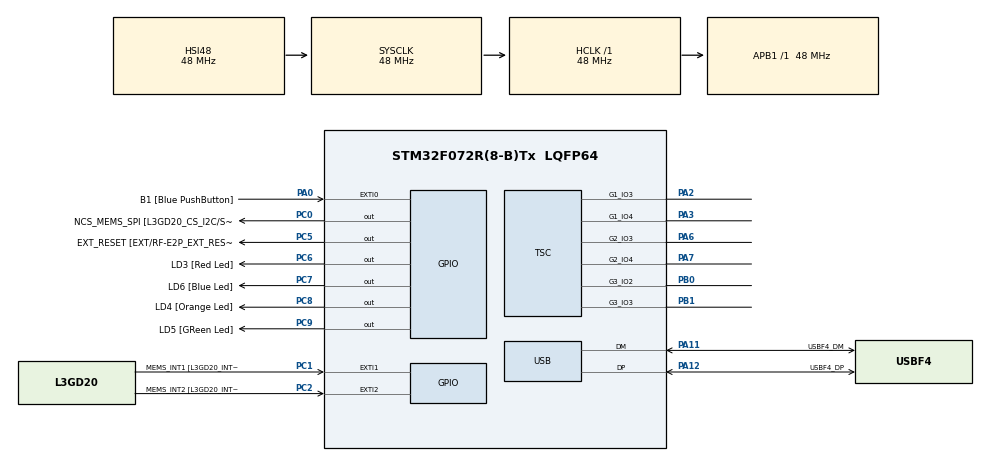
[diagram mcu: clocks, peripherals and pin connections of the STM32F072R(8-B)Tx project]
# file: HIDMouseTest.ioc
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Mcu.Family=STM32F0
Mcu.Name=STM32F072R(8-B)Tx
Mcu.Package=LQFP64
NVIC.USB_IRQn=true\:0\:0\:false\:false\:true\:false\:true\:true
PA0.GPIO_Label=B1 [Blue PushButton]
PA0.GPIO_ModeDefaultEXTI=GPIO_MODE_EVT_RISING
PA0.Signal=GPXTI0
PA11.GPIO_Label=USBF4_DM
PA11.Mode=Device
PA11.Signal=USB_DM
PA12.GPIO_Label=USBF4_DP
PA12.Mode=Device
PA12.Signal=USB_DP
PA13.GPIO_Label=SWDIO
PA13.Mode=Serial_Wire
PA13.Signal=SYS_SWDIO
PA14.GPIO_Label=SWCLK
PA14.Mode=Serial_Wire
PA14.Signal=SYS_SWCLK
PA2.Mode=G1_IO3-Channel
PA2.Signal=TSC_G1_IO3
PA3.Mode=G1_IO4-Sampling
PA3.Signal=TSC_G1_IO4
PA6.Mode=G2_IO3-Channel
PA6.Signal=TSC_G2_IO3
PA7.Mode=G2_IO4-Sampling
PA7.Signal=TSC_G2_IO4
PB0.Mode=G3_IO2-Channel
PB0.Signal=TSC_G3_IO2
PB1.Mode=G3_IO3-Sampling
PB1.Signal=TSC_G3_IO3
PB10.GPIO_Label=I2C2_SCL[EXT/RF-E2P_SCL]
PB10.Signal=I2C2_SCL
PB11.GPIO_Label=I2C2_SDA[EXT/RF-E2P_SDA]
PB11.Signal=I2C2_SDA
PB13.GPIO_Label=SPI2_SCK [L3GD20_SCL/SPC]
PB13.Signal=SPI2_SCK
PB14.GPIO_Label=SPI2_MISO [L3GD20_SDO]
PB14.Signal=SPI2_MISO
PB15.GPIO_Label=SPI2_MOSI [L3GD20_SDA/SDI]
PB15.Signal=SPI2_MOSI
PC0.GPIO_Label=NCS_MEMS_SPI [L3GD20_CS_I2C/SPI]
PC0.Signal=GPIO_Output
PC1.GPIO_Label=MEMS_INT1 [L3GD20_INT1]
PC1.GPIO_ModeDefaultEXTI=GPIO_MODE_EVT_RISING
PC1.Signal=GPXTI1
PC2.GPIO_Label=MEMS_INT2 [L3GD20_INT2]
PC2.GPIO_ModeDefaultEXTI=GPIO_MODE_EVT_RISING
PC2.Signal=GPXTI2
PC5.GPIO_Label=EXT_RESET [EXT/RF-E2P_EXT_RESET]
PC5.Signal=GPIO_Output
PC6.GPIO_Label=LD3 [Red Led]
PC6.Signal=GPIO_Output
PC7.GPIO_Label=LD6 [Blue Led]
PC7.Signal=GPIO_Output
PC8.GPIO_Label=LD4 [Orange Led]
PC8.Signal=GPIO_Output
PC9.GPIO_Label=LD5 [GReen Led]
PC9.Signal=GPIO_Output
ProjectManager.HeapSize=0x200
ProjectManager.StackSize=0x400
ProjectManager.TargetToolchain=MDK-ARM V5.32
RCC.AHBFreq_Value=48000000
RCC.APB1Freq_Value=48000000
RCC.APB1TimFreq_Value=48000000
RCC.HCLKFreq_Value=48000000
RCC.SYSCLKFreq_VALUE=48000000
RCC.SYSCLKSource=RCC_SYSCLKSOURCE_HSI48
RCC.USBFreq_Value=48000000
TOUCHSENSING.IO_3CH_LIN_H_NBR1_CH1=G1_IO3
TOUCHSENSING.IO_3CH_LIN_H_NBR1_CH2=G2_IO3
TOUCHSENSING.IO_3CH_LIN_H_NBR1_CH3=G3_IO2
TOUCHSENSING.TSLPRM_LINROT_CALIB_TH=40
TOUCHSENSING.TSLPRM_LINROT_DETECT_IN_TH=40
TOUCHSENSING.TSLPRM_LINROT_DETECT_OUT_TH=35
TOUCHSENSING.TSLPRM_LINROT_RESOLUTION=7
TOUCHSENSING.TSLPRM_SENSORS_DATAS=TSLPRM_USE_3CH_LIN_H_NBR1 1 3 
TOUCHSENSING.TSLPRM_USE_3CH_LIN_H=1
TOUCHSENSING.TSLPRM_USE_3CH_LIN_H_NBR=1
TSC.ChannelIOs-G1_IO3=TSC_GROUP1_IO3
TSC.ChannelIOs-G2_IO3=TSC_GROUP2_IO3
TSC.ChannelIOs-G3_IO2=TSC_GROUP3_IO2
TSC.SamplingIOs-G1_IO4=TSC_GROUP1_IO4
TSC.SamplingIOs-G2_IO4=TSC_GROUP2_IO4
TSC.SamplingIOs-G3_IO3=TSC_GROUP3_IO3
USB_DEVICE.CLASS_NAME_FS=HID
USB_DEVICE.PRODUCT_STRING_HID_FS=Anapad
USB_DEVICE.VirtualMode=Hid
USB_DEVICE.VirtualModeFS=Hid_FS
VP_TOUCHSENSING_VS_TOUCHSENSING.Mode=TouchSensing_Enabled
VP_USB_DEVICE_VS_USB_DEVICE_HID_FS.Mode=HID_FS
board=STM32F072B-DISCO

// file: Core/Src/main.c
/* USER CODE BEGIN Header */
/**
 ******************************************************************************
 * @file           : main.c
 * @brief          : Main program body
 ******************************************************************************
 * @attention
 *
 * Copyright (c) 2022 STMicroelectronics.
 * All rights reserved.
 *
 * This software is licensed under terms that can be found in the LICENSE file
 * in the root directory of this software component.
 * If no LICENSE file comes with this software, it is provided AS-IS.
 *
 ******************************************************************************
 */
/* USER CODE END Header */
#include "main.h"
#include "touchsensing.h"
#include "usb_device.h"

/* USER CODE BEGIN Includes */

#include "usbd_hid.h"

/* USER CODE END Includes */

TSC_HandleTypeDef htsc;

/* USER CODE BEGIN PV */

extern USBD_HandleTypeDef hUsbDeviceFS;

typedef struct {
    uint8_t button;
    uint8_t x;
    uint8_t y;
    uint8_t wheel;
    uint8_t unused_2;
    uint8_t unused_3;
    uint8_t unused_4;
    uint8_t unused_5;
} hid_mouse_report;

hid_mouse_report i_hid_mouse_report = {0};

/* USER CODE END PV */

void SystemClock_Config(void);
static void MX_GPIO_Init(void);
static void MX_TSC_Init(void);

/* USER CODE BEGIN 0 */

static uint8_t mouse_mode = 3;

static void update_mouse_mode() {
    switch (mouse_mode) {
        case 0:
            mouse_mode = 1;
            HAL_GPIO_WritePin(GPIOC, LD3_Pin, GPIO_PIN_RESET);
            HAL_GPIO_WritePin(GPIOC, LD4_Pin, GPIO_PIN_RESET);
            HAL_GPIO_WritePin(GPIOC, LD5_Pin, GPIO_PIN_RESET);
            HAL_GPIO_WritePin(GPIOC, LD6_Pin, GPIO_PIN_SET);
            break;
        case 1:
            mouse_mode = 2;
            HAL_GPIO_WritePin(GPIOC, LD3_Pin, GPIO_PIN_RESET);
            HAL_GPIO_WritePin(GPIOC, LD4_Pin, GPIO_PIN_RESET);
            HAL_GPIO_WritePin(GPIOC, LD5_Pin, GPIO_PIN_SET);
            HAL_GPIO_WritePin(GPIOC, LD6_Pin, GPIO_PIN_RESET);
            break;
        case 2:
            mouse_mode = 3;
            HAL_GPIO_WritePin(GPIOC, LD3_Pin, GPIO_PIN_SET);
            HAL_GPIO_WritePin(GPIOC, LD4_Pin, GPIO_PIN_RESET);
            HAL_GPIO_WritePin(GPIOC, LD5_Pin, GPIO_PIN_RESET);
            HAL_GPIO_WritePin(GPIOC, LD6_Pin, GPIO_PIN_RESET);
            break;
        case 3:
            mouse_mode = 0;
            HAL_GPIO_WritePin(GPIOC, LD3_Pin, GPIO_PIN_RESET);
            HAL_GPIO_WritePin(GPIOC, LD4_Pin, GPIO_PIN_SET);
            HAL_GPIO_WritePin(GPIOC, LD5_Pin, GPIO_PIN_RESET);
            HAL_GPIO_WritePin(GPIOC, LD6_Pin, GPIO_PIN_RESET);
            break;
    }
}

/* USER CODE END 0 */

int main(void) {

    /* MCU Configuration--------------------------------------------------------*/

    /* Reset of all peripherals, Initializes the Flash interface and the Systick. */
    HAL_Init();

    /* Configure the system clock */
    SystemClock_Config();

    /* Initialize all configured peripherals */
    MX_GPIO_Init();
    MX_USB_DEVICE_Init();
    MX_TSC_Init();
    MX_TOUCHSENSING_Init();
    /* USER CODE BEGIN 2 */

    update_mouse_mode();

    /* USER CODE END 2 */

    /* Infinite loop */
    /* USER CODE BEGIN WHILE */
    while (1) {
        extern const TSL_LinRot_T MyLinRots[];

        uint8_t changed = 0;
        static uint8_t user_button_pressed = 0;
        static uint8_t previousTSLStatus = 0;

        tsl_user_status_t status = TSL_USER_STATUS_BUSY;
        status = tsl_user_Exec();
        if (status == TSL_USER_STATUS_BUSY) {
            // TSC is acquiring sensor data
            HAL_Delay(1);
        } else {
            if (MyLinRots[0].p_Data->StateId == TSL_STATEID_DETECT) {
                uint8_t position = MyLinRots[0].p_Data->Position;
                int8_t direction = position > 64 ? 1 : -1;
                if (mouse_mode == 0) {
                    i_hid_mouse_report.x = direction * 10;
                    changed = 1;
                } else if (mouse_mode == 1) {
                    i_hid_mouse_report.y = direction * 10;
                    changed = 1;
                } else if (mouse_mode == 2) {
                    if (direction == -1) {
                        changed = i_hid_mouse_report.button != 0x01;
                        i_hid_mouse_report.button = 0x01;
                    } else {
                        changed = i_hid_mouse_report.button != 0x02;
                        i_hid_mouse_report.button = 0x02;
                    }
                } else if (mouse_mode == 3) {
                    i_hid_mouse_report.wheel = direction;
                    changed = 1;
                }
                previousTSLStatus = 0;
            } else if (previousTSLStatus != 1) {
                i_hid_mouse_report.button = 0;
                i_hid_mouse_report.x = 0;
                i_hid_mouse_report.y = 0;
                i_hid_mouse_report.wheel = 0;
                changed = 1;
                previousTSLStatus = 1;
            }
        }

        if (HAL_GPIO_ReadPin(GPIOA, B1_Pin) == GPIO_PIN_SET) {
            user_button_pressed = 1;
        } else {
            if (user_button_pressed) {
                update_mouse_mode();
            }
            user_button_pressed = 0;
        }

        if (changed) {
            USBD_HID_SendReport(&hUsbDeviceFS, (uint8_t *)&i_hid_mouse_report, sizeof(i_hid_mouse_report));
            changed = 0;
        }
        /* USER CODE END WHILE */

    }
}

void SystemClock_Config(void) {
    RCC_OscInitTypeDef RCC_OscInitStruct = {0};
    RCC_ClkInitTypeDef RCC_ClkInitStruct = {0};
    RCC_PeriphCLKInitTypeDef PeriphClkInit = {0};

    /** Initializes the RCC Oscillators according to the specified parameters
     * in the RCC_OscInitTypeDef structure.
     */
    RCC_OscInitStruct.OscillatorType = RCC_OSCILLATORTYPE_HSI48;
    RCC_OscInitStruct.HSI48State = RCC_HSI48_ON;
    RCC_OscInitStruct.PLL.PLLState = RCC_PLL_NONE;
    if (HAL_RCC_OscConfig(&RCC_OscInitStruct) != HAL_OK) {
        Error_Handler();
    }

    /** Initializes the CPU, AHB and APB buses clocks
     */
    RCC_ClkInitStruct.ClockType = RCC_CLOCKTYPE_HCLK | RCC_CLOCKTYPE_SYSCLK | RCC_CLOCKTYPE_PCLK1;
    RCC_ClkInitStruct.SYSCLKSource = RCC_SYSCLKSOURCE_HSI48;
    RCC_ClkInitStruct.AHBCLKDivider = RCC_SYSCLK_DIV1;
    RCC_ClkInitStruct.APB1CLKDivider = RCC_HCLK_DIV1;

    if (HAL_RCC_ClockConfig(&RCC_ClkInitStruct, FLASH_LATENCY_1) != HAL_OK) {
        Error_Handler();
    }
    PeriphClkInit.PeriphClockSelection = RCC_PERIPHCLK_USB;
    PeriphClkInit.UsbClockSelection = RCC_USBCLKSOURCE_HSI48;

    if (HAL_RCCEx_PeriphCLKConfig(&PeriphClkInit) != HAL_OK) {
        Error_Handler();
    }
}

static void MX_TSC_Init(void) {

    /** Configure the TSC peripheral
     */
    htsc.Instance = TSC;
    htsc.Init.CTPulseHighLength = TSC_CTPH_2CYCLES;
    htsc.Init.CTPulseLowLength = TSC_CTPL_2CYCLES;
    htsc.Init.SpreadSpectrum = DISABLE;
    htsc.Init.SpreadSpectrumDeviation = 1;
    htsc.Init.SpreadSpectrumPrescaler = TSC_SS_PRESC_DIV1;
    htsc.Init.PulseGeneratorPrescaler = TSC_PG_PRESC_DIV4;
    htsc.Init.MaxCountValue = TSC_MCV_8191;
    htsc.Init.IODefaultMode = TSC_IODEF_OUT_PP_LOW;
    htsc.Init.SynchroPinPolarity = TSC_SYNC_POLARITY_FALLING;
    htsc.Init.AcquisitionMode = TSC_ACQ_MODE_NORMAL;
    htsc.Init.MaxCountInterrupt = DISABLE;
    htsc.Init.ChannelIOs = TSC_GROUP1_IO3 | TSC_GROUP2_IO3 | TSC_GROUP3_IO2;
    htsc.Init.ShieldIOs = 0;
    htsc.Init.SamplingIOs = TSC_GROUP1_IO4 | TSC_GROUP2_IO4 | TSC_GROUP3_IO3;
    if (HAL_TSC_Init(&htsc) != HAL_OK) {
        Error_Handler();
    }
}

static void MX_GPIO_Init(void) {
    GPIO_InitTypeDef GPIO_InitStruct = {0};

    /* GPIO Ports Clock Enable */
    __HAL_RCC_GPIOC_CLK_ENABLE();
    __HAL_RCC_GPIOA_CLK_ENABLE();
    __HAL_RCC_GPIOB_CLK_ENABLE();

    /*Configure GPIO pin Output Level */
    HAL_GPIO_WritePin(GPIOC, NCS_MEMS_SPI_Pin | EXT_RESET_Pin | LD3_Pin | LD6_Pin | LD4_Pin | LD5_Pin, GPIO_PIN_RESET);

    /*Configure GPIO pins : NCS_MEMS_SPI_Pin EXT_RESET_Pin LD3_Pin LD6_Pin
                             LD4_Pin LD5_Pin */
    GPIO_InitStruct.Pin = NCS_MEMS_SPI_Pin | EXT_RESET_Pin | LD3_Pin | LD6_Pin | LD4_Pin | LD5_Pin;
    GPIO_InitStruct.Mode = GPIO_MODE_OUTPUT_PP;
    GPIO_InitStruct.Pull = GPIO_NOPULL;
    GPIO_InitStruct.Speed = GPIO_SPEED_FREQ_LOW;
    HAL_GPIO_Init(GPIOC, &GPIO_InitStruct);

    /*Configure GPIO pins : MEMS_INT1_Pin MEMS_INT2_Pin */
    GPIO_InitStruct.Pin = MEMS_INT1_Pin | MEMS_INT2_Pin;
    GPIO_InitStruct.Mode = GPIO_MODE_EVT_RISING;
    GPIO_InitStruct.Pull = GPIO_NOPULL;
    HAL_GPIO_Init(GPIOC, &GPIO_InitStruct);

    /*Configure GPIO pin : B1_Pin */
    GPIO_InitStruct.Pin = B1_Pin;
    GPIO_InitStruct.Mode = GPIO_MODE_EVT_RISING;
    GPIO_InitStruct.Pull = GPIO_NOPULL;
    HAL_GPIO_Init(B1_GPIO_Port, &GPIO_InitStruct);

    /*Configure GPIO pins : I2C2_SCL_Pin I2C2_SDA_Pin */
    GPIO_InitStruct.Pin = I2C2_SCL_Pin | I2C2_SDA_Pin;
    GPIO_InitStruct.Mode = GPIO_MODE_AF_OD;
    GPIO_InitStruct.Pull = GPIO_NOPULL;
    GPIO_InitStruct.Speed = GPIO_SPEED_FREQ_HIGH;
    GPIO_InitStruct.Alternate = GPIO_AF1_I2C2;
    HAL_GPIO_Init(GPIOB, &GPIO_InitStruct);

    /*Configure GPIO pins : SPI2_SCK_Pin SPI2_MISO_Pin SPI2_MOSI_Pin */
    GPIO_InitStruct.Pin = SPI2_SCK_Pin | SPI2_MISO_Pin | SPI2_MOSI_Pin;
    GPIO_InitStruct.Mode = GPIO_MODE_AF_PP;
    GPIO_InitStruct.Pull = GPIO_NOPULL;
    GPIO_InitStruct.Speed = GPIO_SPEED_FREQ_HIGH;
    GPIO_InitStruct.Alternate = GPIO_AF0_SPI2;
    HAL_GPIO_Init(GPIOB, &GPIO_InitStruct);
}

void Error_Handler(void) {
    __disable_irq();
    while (1) {
    }
}
